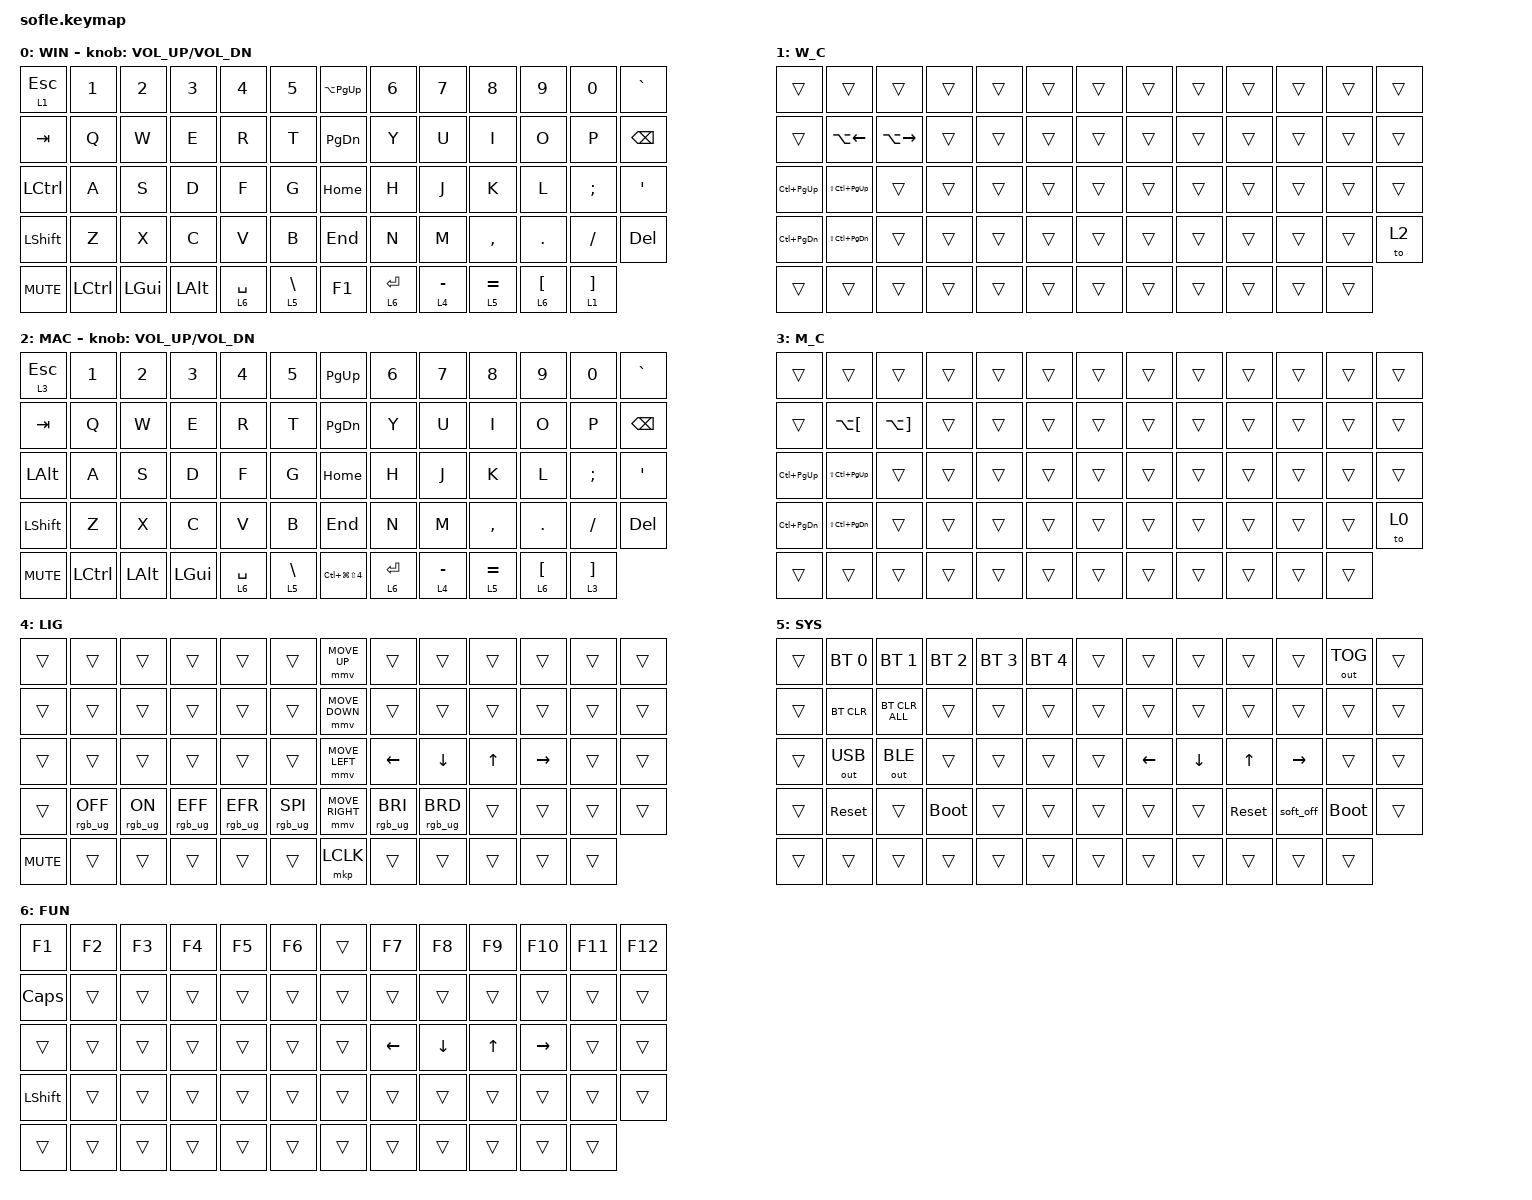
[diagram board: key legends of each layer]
#include <behaviors/mouse_keys.dtsi>
#include <dt-bindings/zmk/mouse.h>
#include <behaviors.dtsi>
#include <dt-bindings/zmk/bt.h>
#include <dt-bindings/zmk/keys.h>
#include <dt-bindings/zmk/outputs.h>
#include <dt-bindings/zmk/rgb.h>

#define ZMK_MOUSE_DEFAULT_MOVE_VAL 1200  // 600
#define ZMK_MOUSE_DEFAULT_SCRL_VAL 20    // 10
#define U_MS_U &mmv MOVE_UP
#define U_MS_D &mmv MOVE_DOWN
#define U_MS_L &mmv MOVE_LEFT
#define U_MS_R &mmv MOVE_RIGHT
#define ZMK_MOUSE_DEFAULT_MOVE_VAL 1200  //  600
#define ZMK_MOUSE_DEFAULT_SCRL_VAL 20    // 10

/ {
    behaviors {
        mmv {
            acceleration-exponent = <1>;      // 1
            time-to-max-speed-ms = <900>;    // 40
            delay-ms = <0>;                   // 0
        };

        msc {
            acceleration-exponent = <1>;      // 0
            time-to-max-speed-ms = <400>;      // 500
            delay-ms = <0>;                   //   10
        };
    };

    scroll_encoder: scroll_encoder {
        compatible = "zmk,behavior-sensor-rotate";
        #sensor-binding-cells = <0>;
        bindings = <&msc SCRL_DOWN>, <&msc SCRL_UP>;

        tap-ms = <30>;
    };

    keymap {
        compatible = "zmk,keymap";

        WIN {
            bindings = <
&lt 1 ESC   &kp N1     &kp N2        &kp N3        &kp N4       &kp N5             &kp LA(PAGE_UP)  &kp N6       &kp N7       &kp N8       &kp N9              &kp N0               &kp GRAVE
&kp TAB     &kp Q      &kp W         &kp E         &kp R        &kp T              &kp PAGE_DOWN    &kp Y        &kp U        &kp I        &kp O               &kp P                &kp BACKSPACE
&kp LCTRL   &kp A      &kp S         &kp D         &kp F        &kp G              &kp HOME         &kp H        &kp J        &kp K        &kp L               &kp SEMI             &kp APOS
&kp LSHFT   &kp Z      &kp X         &kp C         &kp V        &kp B              &kp END          &kp N        &kp M        &kp COMMA    &kp DOT             &kp FSLH             &kp DEL
&kp C_MUTE  &kp LCTRL  &kp LEFT_GUI  &kp LEFT_ALT  &lt 6 SPACE  &lt 5 BACKSLASH    &kp F1           &lt 6 ENTER  &lt 4 MINUS  &lt 5 EQUAL  &lt 6 LEFT_BRACKET  &lt 1 RIGHT_BRACKET
            >;

            sensor-bindings = <&inc_dec_kp C_VOLUME_UP C_VOL_DN>;
            display-name = "WIN";
            label = "⊞";
        };

        W_C {
            bindings = <
&trans             &trans                 &trans         &trans  &trans  &trans    &trans  &trans  &trans  &trans  &trans  &trans  &trans
&trans             &kp LA(LEFT_ARROW)     &kp LA(RIGHT)  &trans  &trans  &trans    &trans  &trans  &trans  &trans  &trans  &trans  &trans
&kp LC(PAGE_UP)    &kp LS(LC(PAGE_UP))    &trans         &trans  &trans  &trans    &trans  &trans  &trans  &trans  &trans  &trans  &trans
&kp LC(PAGE_DOWN)  &kp LS(LC(PAGE_DOWN))  &trans         &trans  &trans  &trans    &trans  &trans  &trans  &trans  &trans  &trans  &to 2
&trans             &trans                 &trans         &trans  &trans  &trans    &trans  &trans  &trans  &trans  &trans  &trans
            >;

            display-name = "W_C";
            label = "WIN_CUS_KM";
        };

        MAC {
            display-name = "MAC";
            bindings = <
&lt 3 ESC     &kp N1     &kp N2        &kp N3        &kp N4       &kp N5             &kp PAGE_UP               &kp N6       &kp N7       &kp N8       &kp N9              &kp N0               &kp GRAVE
&kp TAB       &kp Q      &kp W         &kp E         &kp R        &kp T              &kp PAGE_DOWN             &kp Y        &kp U        &kp I        &kp O               &kp P                &kp BACKSPACE
&kp LEFT_ALT  &kp A      &kp S         &kp D         &kp F        &kp G              &kp HOME                  &kp H        &kp J        &kp K        &kp L               &kp SEMI             &kp APOS
&kp LSHFT     &kp Z      &kp X         &kp C         &kp V        &kp B              &kp END                   &kp N        &kp M        &kp COMMA    &kp DOT             &kp FSLH             &kp DELETE
&kp C_MUTE    &kp LCTRL  &kp LEFT_ALT  &kp LEFT_GUI  &lt 6 SPACE  &lt 5 BACKSLASH    &kp LC(LG(LS(NUMBER_4)))  &lt 6 ENTER  &lt 4 MINUS  &lt 5 EQUAL  &lt 6 LEFT_BRACKET  &lt 3 RIGHT_BRACKET
            >;

            sensor-bindings = <&inc_dec_kp C_VOLUME_UP C_VOL_DN>;
            label = "";
        };

        M_C {
            label = "M_C";
            bindings = <
&trans             &trans                 &trans                 &trans  &trans  &trans    &trans  &trans  &trans  &trans  &trans  &trans  &trans
&trans             &kp LA(LEFT_BRACKET)   &kp LA(RIGHT_BRACKET)  &trans  &trans  &trans    &trans  &trans  &trans  &trans  &trans  &trans  &trans
&kp LC(PAGE_UP)    &kp LS(LC(PAGE_UP))    &trans                 &trans  &trans  &trans    &trans  &trans  &trans  &trans  &trans  &trans  &trans
&kp LC(PAGE_DOWN)  &kp LS(LC(PAGE_DOWN))  &trans                 &trans  &trans  &trans    &trans  &trans  &trans  &trans  &trans  &trans  &to 0
&trans             &trans                 &trans                 &trans  &trans  &trans    &trans  &trans  &trans  &trans  &trans  &trans
            >;
        };

        LIG {
            display-name = "LIG";
            bindings = <
&trans      &trans           &trans          &trans           &trans           &trans             &mmv MOVE_UP     &trans           &trans           &trans        &trans     &trans  &trans
&trans      &trans           &trans          &trans           &trans           &trans             &mmv MOVE_DOWN   &trans           &trans           &trans        &trans     &trans  &trans
&trans      &trans           &trans          &trans           &trans           &trans             &mmv MOVE_LEFT   &kp LEFT         &kp DOWN         &kp UP_ARROW  &kp RIGHT  &trans  &trans
&trans      &rgb_ug RGB_OFF  &rgb_ug RGB_ON  &rgb_ug RGB_EFF  &rgb_ug RGB_EFR  &rgb_ug RGB_SPI    &mmv MOVE_RIGHT  &rgb_ug RGB_BRI  &rgb_ug RGB_BRD  &trans        &trans     &trans  &trans
&kp C_MUTE  &trans           &trans          &trans           &trans           &trans             &mkp LCLK        &trans           &trans           &trans        &trans     &trans
            >;
        };

        SYS {
            display-name = "SYS";
            bindings = <
&trans  &bt BT_SEL 0  &bt BT_SEL 1    &bt BT_SEL 2  &bt BT_SEL 3  &bt BT_SEL 4    &trans  &trans    &trans    &trans        &trans     &out OUT_TOG  &trans
&trans  &bt BT_CLR    &bt BT_CLR_ALL  &trans        &trans        &trans          &trans  &trans    &trans    &trans        &trans     &trans        &trans
&trans  &out OUT_USB  &out OUT_BLE    &trans        &trans        &trans          &trans  &kp LEFT  &kp DOWN  &kp UP_ARROW  &kp RIGHT  &trans        &trans
&trans  &sys_reset    &trans          &bootloader   &trans        &trans          &trans  &trans    &trans    &sys_reset    &soft_off  &bootloader   &trans
&trans  &trans        &trans          &trans        &trans        &trans          &trans  &trans    &trans    &trans        &trans     &trans
            >;
        };

        FUN {
            display-name = "FUN";
            bindings = <
&kp F1          &kp F2  &kp F3  &kp F4  &kp F5  &kp F6    &trans  &kp F7    &kp F8    &kp F9        &kp F10    &kp F11  &kp F12
&kp CAPS        &trans  &trans  &trans  &trans  &trans    &trans  &trans    &trans    &trans        &trans     &trans   &trans
&trans          &trans  &trans  &trans  &trans  &trans    &trans  &kp LEFT  &kp DOWN  &kp UP_ARROW  &kp RIGHT  &trans   &trans
&kp LEFT_SHIFT  &trans  &trans  &trans  &trans  &trans    &trans  &trans    &trans    &trans        &trans     &trans   &trans
&trans          &trans  &trans  &trans  &trans  &trans    &trans  &trans    &trans    &trans        &trans     &trans
            >;
        };
    };
};
